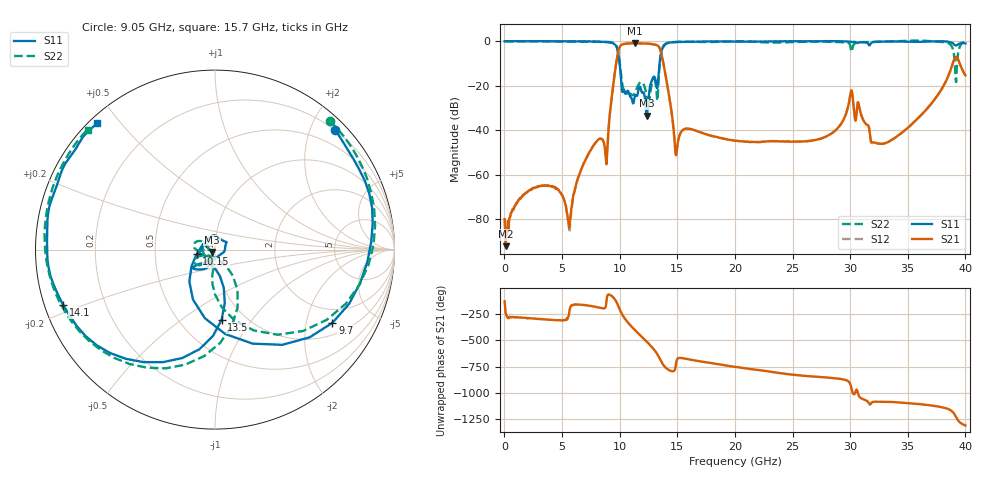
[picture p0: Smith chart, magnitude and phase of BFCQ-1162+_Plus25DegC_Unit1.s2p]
!Mini-Circuits Laboratory
!S-Parameters
!Created:  10/5/2021 at 12:33:01 PM
!MODEL:  BFCQ-1162+
!S/N:  Unit# 1
!Temperature:  25C
!POWER IN  0dBm
!Remark: Tested on TB-BFCQ-1162+. Connector and thruline deembedded.
# Hz S DB R 50.0
!freq dBS11 angS11 dBS21 angS21 dBS12 angS12 dBS22 angS22
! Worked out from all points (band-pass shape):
!   799 points, 10 MHz to 40 GHz, reference 50 ohm
!   highest |S21| = -0.92 dB at 11.35 GHz (marker M1); lowest = -92.1 dB at 100 MHz (marker M2)
!   |S21| within 3 dB of the highest: 9.907 GHz to 13.52 GHz (3.616 GHz wide, 30.9 % of centre)
!   lowest |S11| = -33.4 dB at 12.35 GHz (marker M3), VSWR 1.04, Z = 48.3 - j1.29 ohm
!   |S11| at or under -10 dB: 9.992 GHz to 13.46 GHz (3.466 GHz wide, 29.6 % of centre)
!   |S22| runs from -29.3 to 0.3 dB; largest |S21 - S12| = 0.0026
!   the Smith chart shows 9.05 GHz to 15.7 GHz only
!   S11 on the Smith chart (normalised r, x): 9.05 GHz: 0.19, +2.41; 9.7 GHz: 1.42, -2.86; 10.15 GHz: 0.81, -0.04; 13.5 GHz: 0.78, -0.72; 14.1 GHz: 0.05, -0.18; 15.7 GHz: 0.02, +0.43
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1e7  -0.02 180.0  -79.96 -126.7  -85.14 86.1  -0.04 179.8
1e8  -0.00 179.2  -92.13 121.6  -91.77 66.4  -0.07 179.0
3.55e9  0.02 149.6  -64.86 60.2  -64.80 59.2  -0.09 148.3
5.6e9  -0.00 129.4  -84.00 111.5  -84.42 91.1  -0.16 127.9
6.7e9  -0.13 115.0  -57.16 -161.1  -57.03 -159.4  -0.26 114.2
9.05e9  -0.49 44.8  -37.96 -62.9  -38.03 -62.8  -0.35 48.4
9.7e9  -2.26 -31.9  -9.57 -130.3  -9.58 -130.5  -2.06 -22.5
1.015e10  -19.54 -166.1  -1.62 120.0  -1.63 119.9  -16.63 -96.0
1.135e10  -24.29 -102.1  -0.92 -45.0  -0.92 -44.9  -22.80 -176.8
1.235e10  -33.44 -141.3  -1.04 -152.0  -1.04 -152.1  -25.50 151.3
1.335e10  -16.50 -79.4  -2.23 71.9  -2.23 71.9  -19.62 -56.0
1.35e10  -8.11 -84.7  -3.58 40.7  -3.60 40.6  -9.18 -68.8
1.41e10  -0.91 -160.0  -18.89 -50.3  -18.90 -50.5  -0.97 -153.2
1.485e10  -0.44 159.6  -50.83 -29.7  -50.80 -29.0  -0.31 163.5
1.57e10  -0.33 133.1  -39.37 45.3  -39.36 45.4  -0.22 136.7
2.005e10  -0.13 52.0  -44.75 -33.3  -44.72 -33.3  -0.00 59.6
2.67e10  -0.08 -39.7  -44.63 -124.4  -44.74 -124.2  -0.15 -30.8
3.01e10  -0.35 -73.9  -22.09 128.9  -22.04 127.7  -4.69 -62.8
3.335e10  -0.11 -105.9  -45.15 -6.1  -45.12 -4.9  -0.14 -86.3
3.765e10  -0.04 -152.3  -23.86 -50.8  -23.83 -50.7  -0.20 -117.5
3.91e10  -1.80 -177.5  -7.41 -133.6  -7.42 -133.8  -11.34 145.0
4e10  -1.00 164.9  -15.37 128.7  -15.37 128.6  0.33 -98.3
